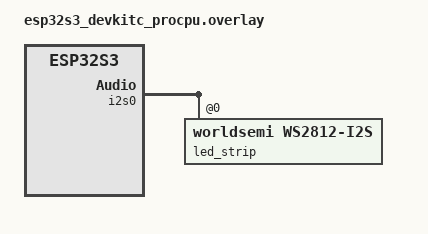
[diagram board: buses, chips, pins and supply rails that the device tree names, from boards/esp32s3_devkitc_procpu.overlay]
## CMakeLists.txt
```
# SPDX-License-Identifier: Apache-2.0

cmake_minimum_required(VERSION 3.20.0)

find_package(Zephyr REQUIRED HINTS $ENV{ZEPHYR_BASE})
project(my_app)

target_sources(app PRIVATE src/main.cpp)
```

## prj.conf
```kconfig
# Application configuration
CONFIG_SHELL=y
CONFIG_SHELL_BACKEND_SERIAL=y
CONFIG_LED_STRIP=y
CONFIG_LOG=y
CONFIG_BT=y
CONFIG_BT_PERIPHERAL=y
CONFIG_BT_DEVICE_NAME="RGB Button"
```

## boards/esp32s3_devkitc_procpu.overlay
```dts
#include <zephyr/dt-bindings/led/led.h>

/ {
/* 
	chosen {
		zephyr,console = &usb_serial;
		zephyr,shell-uart = &usb_serial;
	};
 */
	aliases {
		led-strip = &led_strip;
	};
};
/* 
&usb_serial {
	status = "okay";
};
 */
&i2s0_default {
	group1 {
		pinmux = <I2S0_O_SD_GPIO38>;
	};
};

i2s_led: &i2s0 {
	status = "okay";

	dmas = <&dma 3>;
	dma-names = "tx";

	led_strip: ws2812@0 {
		compatible = "worldsemi,ws2812-i2s";

		reg = <0>;
		chain-length = <1>;
		color-mapping = <LED_COLOR_ID_GREEN
			LED_COLOR_ID_RED
			LED_COLOR_ID_BLUE>;
		reset-delay = <500>;
	};
};

&dma {
	status = "okay";
};
```

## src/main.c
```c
/*
 * SPDX-License-Identifier: Apache-2.0
 */

#include <errno.h>
#include <stdbool.h>
#include <stdint.h>
#include <stdio.h>
#include <stdlib.h>
#include <string.h>

#include <zephyr/bluetooth/bluetooth.h>
#include <zephyr/bluetooth/conn.h>
#include <zephyr/bluetooth/gatt.h>
#include <zephyr/device.h>
#include <zephyr/drivers/gpio.h>
#include <zephyr/drivers/led_strip.h>
#include <zephyr/kernel.h>
#include <zephyr/shell/shell.h>

#define SW0_NODE DT_ALIAS(sw0)
#define STRIP_NODE DT_ALIAS(led_strip)

#define LED_COUNT 1
#define BUTTON_DEBOUNCE_MS 30
#define LONG_PRESS_MS 1000
#define BLE_ADVERTISING_WINDOW_MS 60000

struct color {
    uint8_t red;
    uint8_t green;
    uint8_t blue;
};

enum mode {
    MODE_AUTO,
    MODE_MANUAL,
};

struct rgb_blinker {
    const struct device *strip;
    struct led_rgb pixels[LED_COUNT];
    struct color current_color;
    bool on;
};

struct button_watcher {
    const struct gpio_dt_spec *button;
    struct gpio_callback callback;
    struct k_work_delayable debounce_work;
    void (*handler)(int state);
    int last_state;
};

struct bluetooth_rgb_peripheral {
    struct rgb_blinker *blinker;
    struct k_work_delayable advertising_timeout_work;
    bool advertising_window_open;
    bool advertising_active;
};

static const struct gpio_dt_spec button = GPIO_DT_SPEC_GET(SW0_NODE, gpios);
static const struct device *const strip = DEVICE_DT_GET(STRIP_NODE);

static const struct bt_data advertising_data[] = {
        BT_DATA_BYTES(BT_DATA_FLAGS, (BT_LE_AD_GENERAL | BT_LE_AD_NO_BREDR)),
};

static const struct bt_data scan_response_data[] = {
        BT_DATA(BT_DATA_NAME_COMPLETE, CONFIG_BT_DEVICE_NAME, sizeof(CONFIG_BT_DEVICE_NAME) - 1),
};

static const struct color colors[] = {
        {20, 0, 0},
        {0, 20, 0},
        {0, 0, 20},
        {20, 20, 20},
};

static struct rgb_blinker blinker = {
        .strip = strip,
};
static struct button_watcher watcher = {
        .button = &button,
        .last_state = -1,
};
static struct bluetooth_rgb_peripheral bluetooth = {
        .blinker = &blinker,
};
static struct bluetooth_rgb_peripheral *bluetooth_instance;
static enum mode mode = MODE_AUTO;
static size_t color_index;
static int64_t pressed_at_ms;

static const char *mode_to_string(enum mode value) {
    switch (value) {
    case MODE_AUTO:
        return "auto";
    case MODE_MANUAL:
        return "manual";
    default:
        return "unknown";
    }
}

static int rgb_blinker_set_raw(struct rgb_blinker *self, uint8_t red, uint8_t green, uint8_t blue) {
    int ret;

    self->pixels[0].r = red;
    self->pixels[0].g = green;
    self->pixels[0].b = blue;

    ret = led_strip_update_rgb(self->strip, self->pixels, ARRAY_SIZE(self->pixels));
    if (ret < 0) {
        printf("Failed to update LED strip: %d\n", ret);
        return ret;
    }

    self->current_color.red = red;
    self->current_color.green = green;
    self->current_color.blue = blue;

    return 0;
}

static int rgb_blinker_set(struct rgb_blinker *self, uint8_t red, uint8_t green, uint8_t blue) {
    int ret = rgb_blinker_set_raw(self, red, green, blue);

    if (ret < 0) {
        return ret;
    }

    self->on = red != 0 || green != 0 || blue != 0;
    return 0;
}

static int rgb_blinker_off(struct rgb_blinker *self) { return rgb_blinker_set(self, 0, 0, 0); }

static int rgb_blinker_init(struct rgb_blinker *self) {
    if (!device_is_ready(self->strip)) {
        printf("LED strip device is not ready\n");
        return -ENODEV;
    }

    printf("LED strip device: %s\n", self->strip->name);
    return rgb_blinker_off(self);
}

static int button_watcher_read(const struct button_watcher *self) {
    return gpio_pin_get_dt(self->button);
}

static void button_watcher_schedule_debounce(struct button_watcher *self) {
    (void)k_work_reschedule(&self->debounce_work, K_MSEC(BUTTON_DEBOUNCE_MS));
}

static void button_watcher_handle_debounced(struct button_watcher *self) {
    int state = button_watcher_read(self);

    if (state < 0) {
        printf("Failed to read button: %d\n", state);
        return;
    }

    if (state == self->last_state) {
        return;
    }

    self->last_state = state;
    printf("Button changed: %s\n", state ? "pressed" : "released");

    if (self->handler != NULL) {
        self->handler(state);
    }
}

static void button_watcher_callback_entry(const struct device *dev, struct gpio_callback *cb,
                                          uint32_t pins) {
    struct button_watcher *self = CONTAINER_OF(cb, struct button_watcher, callback);

    ARG_UNUSED(dev);
    ARG_UNUSED(pins);

    button_watcher_schedule_debounce(self);
}

static void button_watcher_debounce_entry(struct k_work *work) {
    struct k_work_delayable *delayable = k_work_delayable_from_work(work);
    struct button_watcher *self = CONTAINER_OF(delayable, struct button_watcher, debounce_work);

    button_watcher_handle_debounced(self);
}

static int button_watcher_start(struct button_watcher *self, void (*handler)(int state)) {
    int ret;

    self->handler = handler;

    if (!gpio_is_ready_dt(self->button)) {
        printf("Button device is not ready\n");
        return -ENODEV;
    }

    ret = gpio_pin_configure_dt(self->button, GPIO_INPUT);
    if (ret < 0) {
        printf("Failed to configure button: %d\n", ret);
        return ret;
    }

    self->last_state = button_watcher_read(self);
    if (self->last_state < 0) {
        printf("Failed to read initial button state: %d\n", self->last_state);
        return self->last_state;
    }

    k_work_init_delayable(&self->debounce_work, button_watcher_debounce_entry);
    gpio_init_callback(&self->callback, button_watcher_callback_entry, BIT(self->button->pin));

    ret = gpio_add_callback(self->button->port, &self->callback);
    if (ret < 0) {
        printf("Failed to add button callback: %d\n", ret);
        return ret;
    }

    ret = gpio_pin_interrupt_configure_dt(self->button, GPIO_INT_EDGE_BOTH);
    if (ret < 0) {
        printf("Failed to configure button interrupt: %d\n", ret);
        return ret;
    }

    return 0;
}

static struct bt_uuid_128 rgb_service_uuid =
        BT_UUID_INIT_128(BT_UUID_128_ENCODE(0x9f1d0000, 0x3d2f, 0x4f3a, 0x8b11, 0x123456789abc));

static struct bt_uuid_128 rgb_color_uuid =
        BT_UUID_INIT_128(BT_UUID_128_ENCODE(0x9f1d0001, 0x3d2f, 0x4f3a, 0x8b11, 0x123456789abc));

static int parse_rgb_text(const char *text, uint8_t *red, uint8_t *green, uint8_t *blue) {
    char *end = NULL;
    long values[3];
    const char *cursor = text;

    for (size_t i = 0; i < ARRAY_SIZE(values); ++i) {
        while (*cursor == ' ' || *cursor == ',') {
            ++cursor;
        }

        values[i] = strtol(cursor, &end, 10);
        if (end == cursor || values[i] < 0 || values[i] > 255) {
            return -EINVAL;
        }

        cursor = end;
    }

    while (*cursor == ' ' || *cursor == ',') {
        ++cursor;
    }

    if (*cursor != '\0') {
        return -EINVAL;
    }

    *red = (uint8_t)values[0];
    *green = (uint8_t)values[1];
    *blue = (uint8_t)values[2];
    return 0;
}

static int bluetooth_start_advertising(struct bluetooth_rgb_peripheral *self) {
    int ret = bt_le_adv_start(BT_LE_ADV_CONN_FAST_1, advertising_data, ARRAY_SIZE(advertising_data),
                              scan_response_data, ARRAY_SIZE(scan_response_data));

    if (ret < 0) {
        if (ret == -EALREADY) {
            self->advertising_active = true;
            return ret;
        }

        printf("Failed to start Bluetooth advertising: %d\n", ret);
        return ret;
    }

    self->advertising_active = true;
    printf("Bluetooth advertising as \"%s\"\n", CONFIG_BT_DEVICE_NAME);
    return 0;
}

static void bluetooth_stop_advertising(struct bluetooth_rgb_peripheral *self) {
    int ret;

    if (!self->advertising_active) {
        return;
    }

    ret = bt_le_adv_stop();
    if (ret < 0) {
        printf("Failed to stop Bluetooth advertising: %d\n", ret);
        return;
    }

    self->advertising_active = false;
    printf("Bluetooth advertising stopped\n");
}

static void bluetooth_close_advertising_window(struct bluetooth_rgb_peripheral *self) {
    self->advertising_window_open = false;
    bluetooth_stop_advertising(self);
    printf("Bluetooth advertising window closed\n");
}

static void bluetooth_advertising_timeout_entry(struct k_work *work) {
    struct k_work_delayable *delayable = k_work_delayable_from_work(work);
    struct bluetooth_rgb_peripheral *self =
            CONTAINER_OF(delayable, struct bluetooth_rgb_peripheral, advertising_timeout_work);

    bluetooth_close_advertising_window(self);
}

static void bluetooth_handle_recycled(struct bluetooth_rgb_peripheral *self) {
    int ret;

    if (!self->advertising_window_open) {
        return;
    }

    ret = bluetooth_start_advertising(self);
    if (ret < 0 && ret != -EALREADY) {
        printf("Failed to restart Bluetooth advertising: %d\n", ret);
    }
}

static int bluetooth_start(struct bluetooth_rgb_peripheral *self) {
    int ret;

    bluetooth_instance = self;
    k_work_init_delayable(&self->advertising_timeout_work, bluetooth_advertising_timeout_entry);

    ret = bt_enable(NULL);
    if (ret < 0) {
        printf("Failed to initialize Bluetooth: %d\n", ret);
        return ret;
    }

    printf("Bluetooth initialized\n");
    printf("Bluetooth advertising is closed. Long press the button to open it "
           "for %d seconds.\n",
           BLE_ADVERTISING_WINDOW_MS / 1000);
    return 0;
}

static void bluetooth_open_advertising_window(struct bluetooth_rgb_peripheral *self) {
    int ret;

    self->advertising_window_open = true;

    ret = bluetooth_start_advertising(self);
    if (ret < 0 && ret != -EALREADY) {
        printf("Failed to open Bluetooth advertising window: %d\n", ret);
        return;
    }

    (void)k_work_reschedule(&self->advertising_timeout_work, K_MSEC(BLE_ADVERTISING_WINDOW_MS));

    printf("Bluetooth advertising window open for %d seconds\n", BLE_ADVERTISING_WINDOW_MS / 1000);
}

static void connected_entry(struct bt_conn *conn, uint8_t err) {
    ARG_UNUSED(conn);

    if (err != 0) {
        printf("Bluetooth connection failed: 0x%02x\n", err);
        return;
    }

    if (bluetooth_instance != NULL) {
        bluetooth_instance->advertising_active = false;
    }

    printf("Bluetooth connected\n");
}

static void disconnected_entry(struct bt_conn *conn, uint8_t reason) {
    ARG_UNUSED(conn);

    printf("Bluetooth disconnected: 0x%02x\n", reason);
}

static void recycled_entry(void) {
    if (bluetooth_instance != NULL) {
        bluetooth_handle_recycled(bluetooth_instance);
    }
}

static ssize_t read_entry(struct bt_conn *conn, const struct bt_gatt_attr *attr, void *buf,
                          uint16_t len, uint16_t offset) {
    struct bluetooth_rgb_peripheral *self = attr->user_data;
    const struct color color = self->blinker->current_color;
    char text[16];
    int written = snprintf(text, sizeof(text), "%u,%u,%u", color.red, color.green, color.blue);

    return bt_gatt_attr_read(conn, attr, buf, len, offset, text, written);
}

static ssize_t write_entry(struct bt_conn *conn, const struct bt_gatt_attr *attr, const void *buf,
                           uint16_t len, uint16_t offset, uint8_t flags) {
    struct bluetooth_rgb_peripheral *self = attr->user_data;
    uint8_t red;
    uint8_t green;
    uint8_t blue;
    int ret;

    ARG_UNUSED(conn);
    ARG_UNUSED(attr);
    ARG_UNUSED(flags);

    if (offset != 0) {
        return BT_GATT_ERR(BT_ATT_ERR_INVALID_OFFSET);
    }

    if (len == 3) {
        const uint8_t *bytes = buf;

        red = bytes[0];
        green = bytes[1];
        blue = bytes[2];
    } else {
        char text[16];

        if (len >= sizeof(text)) {
            return BT_GATT_ERR(BT_ATT_ERR_INVALID_ATTRIBUTE_LEN);
        }

        memcpy(text, buf, len);
        text[len] = '\0';

        if (parse_rgb_text(text, &red, &green, &blue) < 0) {
            return BT_GATT_ERR(BT_ATT_ERR_VALUE_NOT_ALLOWED);
        }
    }

    ret = rgb_blinker_set(self->blinker, red, green, blue);
    if (ret < 0) {
        return BT_GATT_ERR(BT_ATT_ERR_UNLIKELY);
    }

    mode = MODE_MANUAL;
    printf("BLE RGB write: %u, %u, %u\n", red, green, blue);
    return len;
}

BT_CONN_CB_DEFINE(connection_callbacks) = {
        .connected = connected_entry,
        .disconnected = disconnected_entry,
        .recycled = recycled_entry,
};

BT_GATT_SERVICE_DEFINE(rgb_service, BT_GATT_PRIMARY_SERVICE(&rgb_service_uuid),
                       BT_GATT_CHARACTERISTIC(&rgb_color_uuid.uuid,
                                              BT_GATT_CHRC_READ | BT_GATT_CHRC_WRITE |
                                                      BT_GATT_CHRC_WRITE_WITHOUT_RESP,
                                              BT_GATT_PERM_READ | BT_GATT_PERM_WRITE, read_entry,
                                              write_entry, &bluetooth), );

static void on_button_changed(int state) {
    const struct color color = colors[color_index];

    if (state) {
        pressed_at_ms = k_uptime_get();
        return;
    }

    int64_t held_ms = k_uptime_get() - pressed_at_ms;

    if (held_ms >= LONG_PRESS_MS) {
        color_index = 0;
        (void)rgb_blinker_off(&blinker);
        bluetooth_open_advertising_window(&bluetooth);
        printf("Long press: LED off and Bluetooth advertising open\n");
        return;
    }

    if (mode != MODE_AUTO) {
        return;
    }

    (void)rgb_blinker_set(&blinker, color.red, color.green, color.blue);
    printf("Short press: RGB = %u, %u, %u\n", color.red, color.green, color.blue);

    color_index = (color_index + 1) % ARRAY_SIZE(colors);
}

static int parse_color_arg(const struct shell *shell, const char *text, const char *name,
                           uint8_t *out) {
    char *end = NULL;
    long value = strtol(text, &end, 10);

    if (*end != '\0') {
        shell_error(shell, "%s must be a number", name);
        return -EINVAL;
    }

    if (value < 0 || value > 255) {
        shell_error(shell, "%s must be 0..255", name);
        return -EINVAL;
    }

    *out = (uint8_t)value;
    return 0;
}

static int cmd_rgb(const struct shell *shell, size_t argc, char **argv) {
    uint8_t red;
    uint8_t green;
    uint8_t blue;
    int ret;

    if (argc != 4) {
        shell_error(shell, "usage: rgb <red> <green> <blue>");
        return -EINVAL;
    }

    ret = parse_color_arg(shell, argv[1], "red", &red);
    if (ret < 0) {
        return ret;
    }

    ret = parse_color_arg(shell, argv[2], "green", &green);
    if (ret < 0) {
        return ret;
    }

    ret = parse_color_arg(shell, argv[3], "blue", &blue);
    if (ret < 0) {
        return ret;
    }

    ret = rgb_blinker_set(&blinker, red, green, blue);
    if (ret < 0) {
        shell_error(shell, "failed to update LED: %d", ret);
        return ret;
    }

    shell_print(shell, "RGB = %u, %u, %u", red, green, blue);
    return 0;
}

static int cmd_mode(const struct shell *shell, size_t argc, char **argv) {
    if (argc != 2) {
        shell_error(shell, "usage: mode <auto|manual>");
        return -EINVAL;
    }

    if (strcmp(argv[1], "auto") == 0) {
        mode = MODE_AUTO;
        shell_print(shell, "mode = %s", mode_to_string(mode));
        return 0;
    }

    if (strcmp(argv[1], "manual") == 0) {
        mode = MODE_MANUAL;
        shell_print(shell, "mode = %s", mode_to_string(mode));
        return 0;
    }

    shell_error(shell, "mode must be auto or manual");
    return -EINVAL;
}

static int cmd_status(const struct shell *shell, size_t argc, char **argv) {
    int state;

    ARG_UNUSED(argc);
    ARG_UNUSED(argv);

    state = button_watcher_read(&watcher);
    if (state < 0) {
        shell_error(shell, "failed to read button: %d", state);
        return state;
    }

    shell_print(shell, "button = %s", state ? "pressed" : "released");
    shell_print(shell, "mode = %s", mode_to_string(mode));
    shell_print(shell, "led = %s", blinker.on ? "on" : "off");
    shell_print(shell, "next color index = %u", color_index);

    return 0;
}

SHELL_CMD_REGISTER(rgb, NULL, "Set RGB LED: rgb <red> <green> <blue>", cmd_rgb);
SHELL_CMD_REGISTER(mode, NULL, "Set mode: mode <auto|manual>", cmd_mode);
SHELL_CMD_REGISTER(status, NULL, "Show app status", cmd_status);

int main(void) {
    int ret = rgb_blinker_init(&blinker);

    if (ret < 0) {
        return 0;
    }

    ret = button_watcher_start(&watcher, on_button_changed);
    if (ret < 0) {
        return 0;
    }

    ret = bluetooth_start(&bluetooth);
    if (ret < 0) {
        return 0;
    }

    printf("RGB interrupt shell example started\n");
    printf("Try: rgb 20 0 0\n");
    printf("Try: mode auto\n");
    printf("Try: status\n");

    return 0;
}
```

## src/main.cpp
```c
/*
 * SPDX-License-Identifier: Apache-2.0
 */

#include <errno.h>
#include <stdio.h>
#include <stdlib.h>
#include <string.h>

#include <zephyr/bluetooth/bluetooth.h>
#include <zephyr/bluetooth/conn.h>
#include <zephyr/bluetooth/gatt.h>
#include <zephyr/device.h>
#include <zephyr/drivers/gpio.h>
#include <zephyr/drivers/led_strip.h>
#include <zephyr/kernel.h>
#include <zephyr/shell/shell.h>

#define SW0_NODE DT_ALIAS(sw0)
#define STRIP_NODE DT_ALIAS(led_strip)

constexpr int kLedCount = 1;
constexpr int kButtonDebounceMs = 30;
constexpr int64_t kLongPressMs = 1000;
constexpr int kBleAdvertisingWindowMs = 60000;

static const struct gpio_dt_spec button = GPIO_DT_SPEC_GET(SW0_NODE, gpios);
static const struct device *const strip = DEVICE_DT_GET(STRIP_NODE);

static const struct bt_data advertising_data[] = {
	BT_DATA_BYTES(BT_DATA_FLAGS, (BT_LE_AD_GENERAL | BT_LE_AD_NO_BREDR)),
};

static const struct bt_data scan_response_data[] = {
	BT_DATA(BT_DATA_NAME_COMPLETE, CONFIG_BT_DEVICE_NAME, sizeof(CONFIG_BT_DEVICE_NAME) - 1),
};

enum class Mode {
	Auto,
	Manual,
};

struct Color {
	uint8_t red;
	uint8_t green;
	uint8_t blue;
};

static constexpr Color kColors[] = {
	{20, 0, 0},
	{0, 20, 0},
	{0, 0, 20},
	{20, 20, 20},
};

static const char *mode_to_string(Mode mode)
{
	switch (mode) {
	case Mode::Auto:
		return "auto";
	case Mode::Manual:
		return "manual";
	default:
		return "unknown";
	}
}

class RgbBlinker {
public:
	explicit RgbBlinker(const device *strip) : strip_(strip)
	{
	}

	int init()
	{
		if (!device_is_ready(strip_)) {
			printf("LED strip device is not ready\n");
			return -ENODEV;
		}

		printf("LED strip device: %s\n", strip_->name);
		return off();
	}

	int set(uint8_t red, uint8_t green, uint8_t blue)
	{
		int ret = set_raw(red, green, blue);
		if (ret < 0) {
			return ret;
		}

		on_ = red != 0 || green != 0 || blue != 0;
		return 0;
	}

	int off()
	{
		return set(0, 0, 0);
	}

	int toggle()
	{
		if (on_) {
			return off();
		}

		return set(20, 0, 0);
	}

	bool is_on() const
	{
		return on_;
	}

	Color current_color() const
	{
		return current_color_;
	}

private:
	int set_raw(uint8_t red, uint8_t green, uint8_t blue)
	{
		pixels_[0] = {
			.r = red,
			.g = green,
			.b = blue,
		};

		int ret = led_strip_update_rgb(strip_, pixels_, ARRAY_SIZE(pixels_));
		if (ret < 0) {
			printf("Failed to update LED strip: %d\n", ret);
			return ret;
		}

		current_color_ = {
			.red = red,
			.green = green,
			.blue = blue,
		};

		return 0;
	}

	const device *strip_;
	led_rgb pixels_[kLedCount] = {};
	Color current_color_ = {};
	bool on_ = false;
};

static RgbBlinker blinker(strip);
static Mode mode = Mode::Auto;
static size_t color_index;
static int64_t pressed_at_ms;

class ButtonWatcher {
public:
	using Handler = void (*)(int state);

	explicit ButtonWatcher(const gpio_dt_spec *button) : button_(button)
	{
	}

	int start(Handler handler)
	{
		handler_ = handler;

		if (!gpio_is_ready_dt(button_)) {
			printf("Button device is not ready\n");
			return -ENODEV;
		}

		int ret = gpio_pin_configure_dt(button_, GPIO_INPUT);
		if (ret < 0) {
			printf("Failed to configure button: %d\n", ret);
			return ret;
		}

		last_state_ = read();
		if (last_state_ < 0) {
			printf("Failed to read initial button state: %d\n", last_state_);
			return last_state_;
		}

		k_work_init_delayable(&debounce_work_, ButtonWatcher::debounce_entry);
		gpio_init_callback(&callback_, ButtonWatcher::callback_entry, BIT(button_->pin));

		ret = gpio_add_callback(button_->port, &callback_);
		if (ret < 0) {
			printf("Failed to add button callback: %d\n", ret);
			return ret;
		}

		ret = gpio_pin_interrupt_configure_dt(button_, GPIO_INT_EDGE_BOTH);
		if (ret < 0) {
			printf("Failed to configure button interrupt: %d\n", ret);
			return ret;
		}

		return 0;
	}

	int read() const
	{
		return gpio_pin_get_dt(button_);
	}

private:
	static void callback_entry(const device *dev, gpio_callback *cb, uint32_t pins)
	{
		auto *self = CONTAINER_OF(cb, ButtonWatcher, callback_);

		self->schedule_debounce();
	}

	static void debounce_entry(k_work *work)
	{
		auto *delayable = k_work_delayable_from_work(work);
		auto *self = CONTAINER_OF(delayable, ButtonWatcher, debounce_work_);

		self->handle_debounced();
	}

	void schedule_debounce()
	{
		(void)k_work_reschedule(&debounce_work_, K_MSEC(kButtonDebounceMs));
	}

	void handle_debounced()
	{
		int state = read();

		if (state < 0) {
			printf("Failed to read button: %d\n", state);
			return;
		}

		if (state == last_state_) {
			return;
		}

		last_state_ = state;
		printf("Button changed: %s\n", state ? "pressed" : "released");

		if (handler_ != nullptr) {
			handler_(state);
		}
	}

	const gpio_dt_spec *button_;
	gpio_callback callback_ = {};
	k_work_delayable debounce_work_ = {};
	Handler handler_ = nullptr;
	int last_state_ = -1;
};

static ButtonWatcher watcher(&button);

static struct bt_uuid_128 rgb_service_uuid =
	BT_UUID_INIT_128(BT_UUID_128_ENCODE(0x9f1d0000, 0x3d2f, 0x4f3a, 0x8b11, 0x123456789abc));

static struct bt_uuid_128 rgb_color_uuid =
	BT_UUID_INIT_128(BT_UUID_128_ENCODE(0x9f1d0001, 0x3d2f, 0x4f3a, 0x8b11, 0x123456789abc));

class BluetoothRgbPeripheral {
public:
	explicit BluetoothRgbPeripheral(RgbBlinker *blinker) : blinker_(blinker)
	{
		instance_ = this;
	}

	int start()
	{
		k_work_init_delayable(&advertising_timeout_work_,
				      BluetoothRgbPeripheral::advertising_timeout_entry);

		int ret = bt_enable(nullptr);
		if (ret < 0) {
			printf("Failed to initialize Bluetooth: %d\n", ret);
			return ret;
		}

		printf("Bluetooth initialized\n");
		printf("Bluetooth advertising is closed. Long press the button to open it for %d seconds.\n",
		       kBleAdvertisingWindowMs / 1000);
		return 0;
	}

	void open_advertising_window()
	{
		advertising_window_open_ = true;

		int ret = start_advertising();
		if (ret < 0 && ret != -EALREADY) {
			printf("Failed to open Bluetooth advertising window: %d\n", ret);
			return;
		}

		(void)k_work_reschedule(&advertising_timeout_work_,
					K_MSEC(kBleAdvertisingWindowMs));

		printf("Bluetooth advertising window open for %d seconds\n",
		       kBleAdvertisingWindowMs / 1000);
	}

	static void connected_entry(bt_conn *conn, uint8_t err)
	{
		ARG_UNUSED(conn);

		if (err != 0) {
			printf("Bluetooth connection failed: 0x%02x\n", err);
			return;
		}

		if (instance_ != nullptr) {
			instance_->advertising_active_ = false;
		}

		printf("Bluetooth connected\n");
	}

	static void disconnected_entry(bt_conn *conn, uint8_t reason)
	{
		ARG_UNUSED(conn);

		printf("Bluetooth disconnected: 0x%02x\n", reason);
	}

	static void recycled_entry()
	{
		if (instance_ != nullptr) {
			instance_->handle_recycled();
		}
	}

	static ssize_t read_entry(bt_conn *conn,
				  const bt_gatt_attr *attr,
				  void *buf,
				  uint16_t len,
				  uint16_t offset)
	{
		auto *self = static_cast<BluetoothRgbPeripheral *>(attr->user_data);

		return self->read(conn, attr, buf, len, offset);
	}

	static ssize_t write_entry(bt_conn *conn,
				   const bt_gatt_attr *attr,
				   const void *buf,
				   uint16_t len,
				   uint16_t offset,
				   uint8_t flags)
	{
		auto *self = static_cast<BluetoothRgbPeripheral *>(attr->user_data);

		return self->write(conn, attr, buf, len, offset, flags);
	}

private:
	static void advertising_timeout_entry(k_work *work)
	{
		auto *delayable = k_work_delayable_from_work(work);
		auto *self = CONTAINER_OF(delayable,
					  BluetoothRgbPeripheral,
					  advertising_timeout_work_);

		self->close_advertising_window();
	}

	int start_advertising()
	{
		int ret = bt_le_adv_start(BT_LE_ADV_CONN_FAST_1,
				      advertising_data,
				      ARRAY_SIZE(advertising_data),
				      scan_response_data,
				      ARRAY_SIZE(scan_response_data));
		if (ret < 0) {
			if (ret == -EALREADY) {
				advertising_active_ = true;
				return ret;
			}

			printf("Failed to start Bluetooth advertising: %d\n", ret);
			return ret;
		}

		advertising_active_ = true;
		printf("Bluetooth advertising as \"%s\"\n", CONFIG_BT_DEVICE_NAME);
		return 0;
	}

	void stop_advertising()
	{
		if (!advertising_active_) {
			return;
		}

		int ret = bt_le_adv_stop();
		if (ret < 0) {
			printf("Failed to stop Bluetooth advertising: %d\n", ret);
			return;
		}

		advertising_active_ = false;
		printf("Bluetooth advertising stopped\n");
	}

	void close_advertising_window()
	{
		advertising_window_open_ = false;
		stop_advertising();
		printf("Bluetooth advertising window closed\n");
	}

	void handle_recycled()
	{
		if (!advertising_window_open_) {
			return;
		}

		int ret = start_advertising();
		if (ret < 0 && ret != -EALREADY) {
			printf("Failed to restart Bluetooth advertising: %d\n", ret);
		}
	}

	ssize_t read(bt_conn *conn,
		     const bt_gatt_attr *attr,
		     void *buf,
		     uint16_t len,
		     uint16_t offset)
	{
		const Color color = blinker_->current_color();
		char text[16];
		int written = snprintf(text,
				       sizeof(text),
				       "%u,%u,%u",
				       color.red,
				       color.green,
				       color.blue);

		return bt_gatt_attr_read(conn, attr, buf, len, offset, text, written);
	}

	ssize_t write(bt_conn *conn,
		      const bt_gatt_attr *attr,
		      const void *buf,
		      uint16_t len,
		      uint16_t offset,
		      uint8_t flags)
	{
		ARG_UNUSED(conn);
		ARG_UNUSED(attr);
		ARG_UNUSED(flags);

		if (offset != 0) {
			return BT_GATT_ERR(BT_ATT_ERR_INVALID_OFFSET);
		}

		uint8_t red;
		uint8_t green;
		uint8_t blue;

		if (len == 3) {
			const auto *bytes = static_cast<const uint8_t *>(buf);
			red = bytes[0];
			green = bytes[1];
			blue = bytes[2];
		} else {
			if (len >= 16) {
				return BT_GATT_ERR(BT_ATT_ERR_INVALID_ATTRIBUTE_LEN);
			}

			char text[16];
			memcpy(text, buf, len);
			text[len] = '\0';

			if (parse_rgb_text(text, &red, &green, &blue) < 0) {
				return BT_GATT_ERR(BT_ATT_ERR_VALUE_NOT_ALLOWED);
			}
		}

		int ret = blinker_->set(red, green, blue);
		if (ret < 0) {
			return BT_GATT_ERR(BT_ATT_ERR_UNLIKELY);
		}

		mode = Mode::Manual;
		printf("BLE RGB write: %u, %u, %u\n", red, green, blue);
		return len;
	}

	static int parse_rgb_text(const char *text, uint8_t *red, uint8_t *green, uint8_t *blue)
	{
		char *end = nullptr;
		long values[3];
		const char *cursor = text;

		for (size_t i = 0; i < ARRAY_SIZE(values); ++i) {
			while (*cursor == ' ' || *cursor == ',') {
				++cursor;
			}

			values[i] = strtol(cursor, &end, 10);
			if (end == cursor || values[i] < 0 || values[i] > 255) {
				return -EINVAL;
			}

			cursor = end;
		}

		while (*cursor == ' ' || *cursor == ',') {
			++cursor;
		}

		if (*cursor != '\0') {
			return -EINVAL;
		}

		*red = static_cast<uint8_t>(values[0]);
		*green = static_cast<uint8_t>(values[1]);
		*blue = static_cast<uint8_t>(values[2]);
		return 0;
	}

	RgbBlinker *blinker_;
	k_work_delayable advertising_timeout_work_ = {};
	bool advertising_window_open_ = false;
	bool advertising_active_ = false;

	static BluetoothRgbPeripheral *instance_;
};

BluetoothRgbPeripheral *BluetoothRgbPeripheral::instance_ = nullptr;

static BluetoothRgbPeripheral bluetooth(&blinker);

BT_CONN_CB_DEFINE(connection_callbacks) = {
	.connected = BluetoothRgbPeripheral::connected_entry,
	.disconnected = BluetoothRgbPeripheral::disconnected_entry,
	.recycled = BluetoothRgbPeripheral::recycled_entry,
};

BT_GATT_SERVICE_DEFINE(rgb_service,
	BT_GATT_PRIMARY_SERVICE(&rgb_service_uuid),
	BT_GATT_CHARACTERISTIC(&rgb_color_uuid.uuid,
			       BT_GATT_CHRC_READ | BT_GATT_CHRC_WRITE | BT_GATT_CHRC_WRITE_WITHOUT_RESP,
			       BT_GATT_PERM_READ | BT_GATT_PERM_WRITE,
			       BluetoothRgbPeripheral::read_entry,
			       BluetoothRgbPeripheral::write_entry,
			       &bluetooth),
);

static void on_button_changed(int state)
{
	if (state) {
		pressed_at_ms = k_uptime_get();
		return;
	}

	int64_t held_ms = k_uptime_get() - pressed_at_ms;

	if (held_ms >= kLongPressMs) {
		color_index = 0;
		(void)blinker.off();
		bluetooth.open_advertising_window();
		printf("Long press: LED off and Bluetooth advertising open\n");
		return;
	}

	if (mode != Mode::Auto) {
		return;
	}

	const Color color = kColors[color_index];
	(void)blinker.set(color.red, color.green, color.blue);
	printf("Short press: RGB = %u, %u, %u\n", color.red, color.green, color.blue);

	color_index = (color_index + 1) % ARRAY_SIZE(kColors);
}

static int parse_color_arg(const struct shell *shell,
			   const char *text,
			   const char *name,
			   uint8_t *out)
{
	char *end = nullptr;
	long value = strtol(text, &end, 10);

	if (*end != '\0') {
		shell_error(shell, "%s must be a number", name);
		return -EINVAL;
	}

	if (value < 0 || value > 255) {
		shell_error(shell, "%s must be 0..255", name);
		return -EINVAL;
	}

	*out = static_cast<uint8_t>(value);
	return 0;
}

static int cmd_rgb(const struct shell *shell, size_t argc, char **argv)
{
	if (argc != 4) {
		shell_error(shell, "usage: rgb <red> <green> <blue>");
		return -EINVAL;
	}

	uint8_t red;
	uint8_t green;
	uint8_t blue;

	int ret = parse_color_arg(shell, argv[1], "red", &red);
	if (ret < 0) {
		return ret;
	}

	ret = parse_color_arg(shell, argv[2], "green", &green);
	if (ret < 0) {
		return ret;
	}

	ret = parse_color_arg(shell, argv[3], "blue", &blue);
	if (ret < 0) {
		return ret;
	}

	ret = blinker.set(red, green, blue);
	if (ret < 0) {
		shell_error(shell, "failed to update LED: %d", ret);
		return ret;
	}

	shell_print(shell, "RGB = %u, %u, %u", red, green, blue);
	return 0;
}

static int cmd_mode(const struct shell *shell, size_t argc, char **argv)
{
	if (argc != 2) {
		shell_error(shell, "usage: mode <auto|manual>");
		return -EINVAL;
	}

	if (strcmp(argv[1], "auto") == 0) {
		mode = Mode::Auto;
		shell_print(shell, "mode = %s", mode_to_string(mode));
		return 0;
	}

	if (strcmp(argv[1], "manual") == 0) {
		mode = Mode::Manual;
		shell_print(shell, "mode = %s", mode_to_string(mode));
		return 0;
	}

	shell_error(shell, "mode must be auto or manual");
	return -EINVAL;
}

static int cmd_status(const struct shell *shell, size_t argc, char **argv)
{
	int state = watcher.read();

	if (state < 0) {
		shell_error(shell, "failed to read button: %d", state);
		return state;
	}

	shell_print(shell, "button = %s", state ? "pressed" : "released");
	shell_print(shell, "mode = %s", mode_to_string(mode));
	shell_print(shell, "led = %s", blinker.is_on() ? "on" : "off");
	shell_print(shell, "next color index = %u", color_index);

	return 0;
}

SHELL_CMD_REGISTER(rgb, NULL, "Set RGB LED: rgb <red> <green> <blue>", cmd_rgb);
SHELL_CMD_REGISTER(mode, NULL, "Set mode: mode <auto|manual>", cmd_mode);
SHELL_CMD_REGISTER(status, NULL, "Show app status", cmd_status);

int main()
{
	int ret = blinker.init();
	if (ret < 0) {
		return 0;
	}

	ret = watcher.start(on_button_changed);
	if (ret < 0) {
		return 0;
	}

	ret = bluetooth.start();
	if (ret < 0) {
		return 0;
	}

	printf("RGB interrupt shell example started\n");
	printf("Try: rgb 20 0 0\n");
	printf("Try: mode auto\n");
	printf("Try: status\n");

	return 0;
}
```
